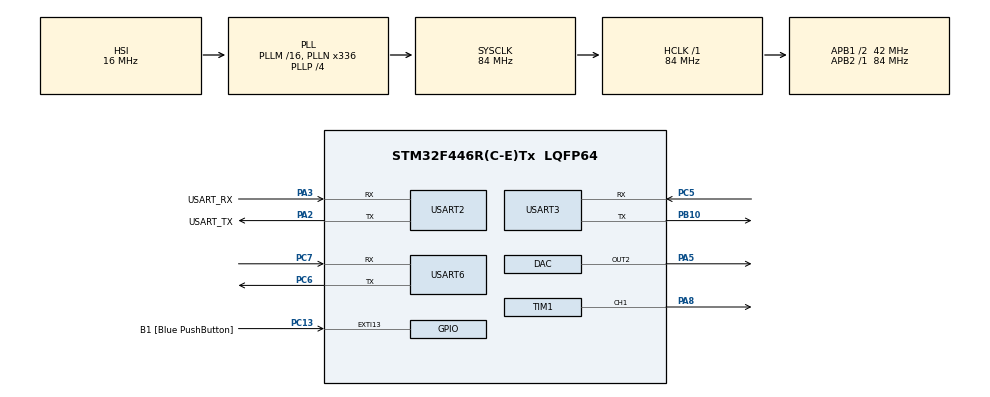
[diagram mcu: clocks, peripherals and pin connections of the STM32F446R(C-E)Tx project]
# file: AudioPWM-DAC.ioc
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DAC.DAC_Trigger2=DAC_TRIGGER_T6_TRGO
Dma.DAC2.1.Direction=DMA_MEMORY_TO_PERIPH
Dma.DAC2.1.FIFOMode=DMA_FIFOMODE_DISABLE
Dma.DAC2.1.Instance=DMA1_Stream6
Dma.DAC2.1.MemDataAlignment=DMA_MDATAALIGN_HALFWORD
Dma.DAC2.1.MemInc=DMA_MINC_ENABLE
Dma.DAC2.1.Mode=DMA_CIRCULAR
Dma.DAC2.1.PeriphDataAlignment=DMA_PDATAALIGN_HALFWORD
Dma.DAC2.1.PeriphInc=DMA_PINC_DISABLE
Dma.DAC2.1.Priority=DMA_PRIORITY_LOW
Dma.Request0=USART2_RX
Dma.Request1=DAC2
Dma.Request2=USART3_RX
Dma.Request3=USART6_RX
Dma.USART2_RX.0.Direction=DMA_PERIPH_TO_MEMORY
Dma.USART2_RX.0.FIFOMode=DMA_FIFOMODE_DISABLE
Dma.USART2_RX.0.Instance=DMA1_Stream5
Dma.USART2_RX.0.MemDataAlignment=DMA_MDATAALIGN_BYTE
Dma.USART2_RX.0.MemInc=DMA_MINC_ENABLE
Dma.USART2_RX.0.Mode=DMA_NORMAL
Dma.USART2_RX.0.PeriphDataAlignment=DMA_PDATAALIGN_BYTE
Dma.USART2_RX.0.PeriphInc=DMA_PINC_DISABLE
Dma.USART2_RX.0.Priority=DMA_PRIORITY_LOW
Dma.USART3_RX.2.Direction=DMA_PERIPH_TO_MEMORY
Dma.USART3_RX.2.FIFOMode=DMA_FIFOMODE_DISABLE
Dma.USART3_RX.2.Instance=DMA1_Stream1
Dma.USART3_RX.2.MemDataAlignment=DMA_MDATAALIGN_BYTE
Dma.USART3_RX.2.MemInc=DMA_MINC_ENABLE
Dma.USART3_RX.2.Mode=DMA_CIRCULAR
Dma.USART3_RX.2.PeriphDataAlignment=DMA_PDATAALIGN_BYTE
Dma.USART3_RX.2.PeriphInc=DMA_PINC_DISABLE
Dma.USART3_RX.2.Priority=DMA_PRIORITY_LOW
Dma.USART6_RX.3.Direction=DMA_PERIPH_TO_MEMORY
Dma.USART6_RX.3.FIFOMode=DMA_FIFOMODE_DISABLE
Dma.USART6_RX.3.Instance=DMA2_Stream1
Dma.USART6_RX.3.MemDataAlignment=DMA_MDATAALIGN_BYTE
Dma.USART6_RX.3.MemInc=DMA_MINC_ENABLE
Dma.USART6_RX.3.Mode=DMA_NORMAL
Dma.USART6_RX.3.PeriphDataAlignment=DMA_PDATAALIGN_BYTE
Dma.USART6_RX.3.PeriphInc=DMA_PINC_DISABLE
Dma.USART6_RX.3.Priority=DMA_PRIORITY_LOW
Mcu.Family=STM32F4
Mcu.Name=STM32F446R(C-E)Tx
Mcu.Package=LQFP64
NVIC.DMA1_Stream1_IRQn=true\:0\:0\:false\:false\:true\:false\:true\:true
NVIC.DMA1_Stream5_IRQn=true\:0\:0\:false\:false\:true\:false\:true\:true
NVIC.DMA1_Stream6_IRQn=true\:0\:0\:false\:false\:true\:false\:true\:true
NVIC.DMA2_Stream1_IRQn=true\:0\:0\:false\:false\:true\:false\:true\:true
NVIC.PriorityGroup=NVIC_PRIORITYGROUP_0
NVIC.USART2_IRQn=true\:0\:0\:false\:false\:true\:true\:true\:true
PA13.GPIO_Label=TMS
PA13.Mode=Serial_Wire
PA13.Signal=SYS_JTMS-SWDIO
PA14.GPIO_Label=TCK
PA14.Mode=Serial_Wire
PA14.Signal=SYS_JTCK-SWCLK
PA2.GPIO_Label=USART_TX
PA2.Mode=Asynchronous
PA2.Signal=USART2_TX
PA3.GPIO_Label=USART_RX
PA3.Mode=Asynchronous
PA3.Signal=USART2_RX
PA5.Signal=COMP_DAC2_group
PA8.Signal=S_TIM1_CH1
PB10.Mode=Asynchronous
PB10.Signal=USART3_TX
PB3.GPIO_Label=SWO
PB3.Signal=SYS_JTDO-SWO
PC13.GPIO_Label=B1 [Blue PushButton]
PC13.GPIO_ModeDefaultEXTI=GPIO_MODE_IT_FALLING
PC13.Signal=GPXTI13
PC14-OSC32_IN.Mode=LSE-External-Oscillator
PC14-OSC32_IN.Signal=RCC_OSC32_IN
PC15-OSC32_OUT.Mode=LSE-External-Oscillator
PC15-OSC32_OUT.Signal=RCC_OSC32_OUT
PC5.Mode=Asynchronous
PC5.Signal=USART3_RX
PC6.Mode=Asynchronous
PC6.Signal=USART6_TX
PC7.Mode=Asynchronous
PC7.Signal=USART6_RX
PH0-OSC_IN.Mode=HSE-External-Oscillator
PH0-OSC_IN.Signal=RCC_OSC_IN
PH1-OSC_OUT.Mode=HSE-External-Oscillator
PH1-OSC_OUT.Signal=RCC_OSC_OUT
ProjectManager.HeapSize=0x200
ProjectManager.StackSize=0x400
ProjectManager.TargetToolchain=STM32CubeIDE
RCC.48MHZClocksFreq_Value=84000000
RCC.AHBFreq_Value=84000000
RCC.APB1CLKDivider=RCC_HCLK_DIV2
RCC.APB1Freq_Value=42000000
RCC.APB1TimFreq_Value=84000000
RCC.APB2Freq_Value=84000000
RCC.APB2TimFreq_Value=84000000
RCC.CortexFreq_Value=84000000
RCC.FLatency-AdvancedSettings=FLASH_LATENCY_2
RCC.HCLKFreq_Value=84000000
RCC.HSE_VALUE=8000000
RCC.HSI_VALUE=16000000
RCC.PLLN=336
RCC.PLLP=RCC_PLLP_DIV4
RCC.SYSCLKFreq_VALUE=84000000
RCC.SYSCLKSource=RCC_SYSCLKSOURCE_PLLCLK
RCC.USBFreq_Value=168000000
RCC.VCOOutputFreq_Value=336000000
SH.COMP_DAC2_group.0=DAC_OUT2,DAC_OUT2
SH.S_TIM1_CH1.0=TIM1_CH1,PWM Generation1 CH1
TIM1.Channel-PWM\ Generation1\ CH1=TIM_CHANNEL_1
TIM1.Period=100-1
TIM1.Pulse-PWM\ Generation1\ CH1=50
TIM6.Prescaler=1-1
TIM6.TIM_MasterOutputTrigger=TIM_TRGO_UPDATE
USART2.OverSampling=UART_OVERSAMPLING_8
USART2.VirtualMode=VM_ASYNC
USART3.OverSampling=UART_OVERSAMPLING_8
USART3.VirtualMode=VM_ASYNC
USART6.OverSampling=UART_OVERSAMPLING_8
USART6.VirtualMode=VM_ASYNC
VP_TIM1_VS_ClockSourceINT.Mode=Internal
VP_TIM6_VS_ClockSourceINT.Mode=Enable_Timer
board=NUCLEO-F446RE

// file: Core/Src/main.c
/* USER CODE BEGIN Header */
/**
  ******************************************************************************
  * @file           : main.c
  * @brief          : Main program body
  ******************************************************************************
  * @attention
  *
  * Copyright (c) 2026 STMicroelectronics.
  * All rights reserved.
  *
  * This software is licensed under terms that can be found in the LICENSE file
  * in the root directory of this software component.
  * If no LICENSE file comes with this software, it is provided AS-IS.
  *
  ******************************************************************************
  */
/* USER CODE END Header */
#include "main.h"

/* USER CODE BEGIN Includes */
#include "NOTES_PSC.h"
#include <string.h>
#include "math.h"

/* USER CODE END Includes */

/* USER CODE BEGIN PD */
#define TOTAL_NOTES (sizeof(mk_notes)/sizeof(uint16_t))
/* USER CODE END PD */

DAC_HandleTypeDef hdac;
DMA_HandleTypeDef hdma_dac2;

TIM_HandleTypeDef htim1;
TIM_HandleTypeDef htim6;

UART_HandleTypeDef huart2;
UART_HandleTypeDef huart3;
UART_HandleTypeDef huart6;
DMA_HandleTypeDef hdma_usart2_rx;
DMA_HandleTypeDef hdma_usart3_rx;
DMA_HandleTypeDef hdma_usart6_rx;

/* USER CODE BEGIN PV */

// Cancion para DAC
int silent_notes[] = {0};
int silent_durations[] = {1000};  // 1 segundo de silencio
int win_notes[] = {
    523, 659, 784, 1047,   // subida alegre
    988, 1047, 1175,       // remate
    1319, 0,               // nota alta + pausa
    1047, 1175, 1319,      // cierre triunfal
    1568
};

int win_durations[] = {
    150, 150, 150, 300,
    150, 150, 300,
    400, 150,
    150, 150, 300,
    600
};
int mario_dac_notes[] = {
    659, 659, 0, 659,
    0, 523, 659, 784,
    0, 392, 0,

    523, 392, 0, 330,
    440, 494, 466, 440,
    392, 659, 784, 880,
    698, 784, 0, 659,
    523, 587, 494
};

int mario_dac_durations[] = {
    150, 150, 150, 150,
    150, 150, 150, 300,
    300, 300, 300,

    150, 150, 150, 150,
    150, 150, 150, 150,
    200, 200, 200, 200,
    150, 150, 150, 150,
    150, 150, 300
};

int mk64_intro_notes[] = {
    659, 784, 988, 880, 784, 659,
    587, 659, 784, 659, 587, 523,
    659, 784, 988, 880, 784, 659,
    784, 880, 988, 0
};

int mk64_intro_durations[] = {
    180, 180, 360, 180, 180, 360,
    180, 180, 360, 180, 180, 360,
    180, 180, 360, 180, 180, 360,
    180, 180, 500, 200
};

// Cancion para DAC
int mk_notes[] = {
    DAC_FS4, DAC_A4, DAC_B4,
    DAC_D5,  DAC_CS5, DAC_B4,
    DAC_A4,  DAC_FS4,

    DAC_D4,  DAC_FS4, DAC_A4,
    DAC_B4,  DAC_A4,  DAC_FS4,
    DAC_E4,  DAC_D4,

    DAC_FS4, DAC_A4,  DAC_B4,
    DAC_D5,  DAC_CS5, DAC_B4,
    DAC_A4,  DAC_FS4,

    DAC_E4,  DAC_FS4, DAC_G4,
    DAC_A4,  DAC_B4,  DAC_A4,
    DAC_FS4,

    DAC_A4,  DAC_B4,  DAC_C5,
    DAC_B4,  DAC_A4,  DAC_G4,
    DAC_FS4, DAC_E4,

    DAC_D4,  DAC_E4,  DAC_FS4,
    DAC_A4,  DAC_G4,  DAC_FS4,
    DAC_E4,  DAC_D4
};

// Las duraciones no cambian
int mk_durations[] = {
    200, 200, 300,
    200, 200, 300,
    200, 400,

    200, 200, 300,
    200, 200, 300,
    200, 400,

    200, 200, 300,
    200, 200, 300,
    200, 400,

    200, 200, 200,
    200, 300, 200,
    400,

    200, 200, 300,
    200, 200, 200,
    300, 400,

    200, 200, 200,
    300, 200, 200,
    300, 400
};

// ================================================================================

uint8_t rxbuffer;
uint8_t rx3buffer;
uint8_t flag;
uint8_t option_selected = 0;

// DAC
#define size 128
uint16_t Ysine[size];

#define PI 3.14159265
#define TIM_FREQ 84000000
#define TIM_PSC 1

char dummy[60];

/* USER CODE END PV */

void SystemClock_Config(void);
static void MX_GPIO_Init(void);
static void MX_DMA_Init(void);
static void MX_TIM1_Init(void);
static void MX_USART2_UART_Init(void);
static void MX_DAC_Init(void);
static void MX_TIM6_Init(void);
static void MX_USART3_UART_Init(void);
static void MX_USART6_UART_Init(void);

/* USER CODE BEGIN 0 */

void play_note(uint16_t psc)
{
    if (psc == 0)
    {
        __HAL_TIM_SET_COMPARE(&htim1, TIM_CHANNEL_1, 0);
        return;
    }

    __HAL_TIM_SET_PRESCALER(&htim1, psc);
    htim1.Instance->EGR = TIM_EGR_UG;  // CLAVE

    __HAL_TIM_SET_COMPARE(&htim1, TIM_CHANNEL_1, 50);
}

void play_melody(uint16_t *notes, uint16_t *durations, uint16_t length)
{
    for (uint16_t i = 0; i < length; i++)
    {
        play_note(notes[i]);
        HAL_Delay(durations[i]);

        // pequeña pausa entre notas (mejora el sonido)
        play_note(DAC_REST);
        HAL_Delay(20);
    }
}

// DMA
void generarSin(void){
	for (int x = 0; x < size; x++){
		Ysine[x] = ((sin(x * 2 * PI / size) + 1) * (4096 / 2));
	}
}

int calcularARR(int freq){
	if (freq == 0){
		return 0;
	}

	int TF = size * freq;
	return ((TIM_FREQ / ((TIM_PSC+1)*TF))-1);

}

void noTone(void)
{
    TIM6->ARR = 0xFFFF;  // frecuencia muy baja (silencio práctico)
}

void playTone(int *tone, int *duration, int *pause, int Nsize)
{
	HAL_DAC_Start_DMA(&hdac, DAC_CHANNEL_2, (uint32_t*)Ysine, size, DAC_ALIGN_12B_R);
    for (int i = 0; i < Nsize; i++)
    {
        int valorARR = calcularARR(tone[i]);   // frecuencia → ARR
        int dur = duration[i];                 // duración de la nota
        int pauseBetweenTones = 0;

        if (pause != NULL)
        {
            pauseBetweenTones = pause[i] - duration[i];
            if (pauseBetweenTones < 0) pauseBetweenTones = 0;
        }

        // Configurar frecuencia (Timer que dispara el DAC)
        TIM6->ARR = valorARR;
        TIM6->CNT = 0;

        HAL_Delay(dur);   // duración de la nota

        // Apagar tono (silencio)
        noTone();

        HAL_Delay(pauseBetweenTones); // pausa entre notas
    }

    HAL_DAC_Stop_DMA(&hdac, DAC_CHANNEL_2);
}

/* USER CODE END 0 */

int main(void)
{

  /* MCU Configuration--------------------------------------------------------*/

  /* Reset of all peripherals, Initializes the Flash interface and the Systick. */
  HAL_Init();

  /* Configure the system clock */
  SystemClock_Config();

  /* Initialize all configured peripherals */
  MX_GPIO_Init();
  MX_DMA_Init();
  MX_TIM1_Init();
  MX_USART2_UART_Init();
  MX_DAC_Init();
  MX_TIM6_Init();
  MX_USART3_UART_Init();
  MX_USART6_UART_Init();
  /* USER CODE BEGIN 2 */

  HAL_TIM_PWM_Start(&htim1, TIM_CHANNEL_1);
  HAL_UART_Receive_DMA(&huart2, &rxbuffer, 1);
  HAL_UART_Receive_DMA(&huart6, &rx3buffer, 1);
  generarSin();

  // Inicializar DAC
  HAL_DAC_Init(&hdac);
  HAL_TIM_Base_Start(&htim6);

  // Inicializar DAC elgiendo el canal
  HAL_DAC_Start_DMA(&hdac, DAC_CHANNEL_2, (uint32_t*)Ysine, size, DAC_ALIGN_12B_R);

  /* USER CODE END 2 */

  /* Infinite loop */
  /* USER CODE BEGIN WHILE */
  while (1)
  {
	  playTone(silent_notes, silent_durations, NULL, (sizeof(silent_notes)/sizeof(silent_notes[0])));
	  // verifico que me envia la nucleo del juego para saber cual musica tengo que poner.
	  // contamos con musica para menu, juego y ganador.
	  switch(rx3buffer)
	  		  {
	  			  case '1':
	  				  //Menu
	  				  playTone(mk64_intro_notes, mk64_intro_durations, NULL, (sizeof(mk64_intro_notes)/sizeof(mk64_intro_notes[0])));

	  				  break;

	  			  case '2':
	  				  //Carrera
	  				  playTone(mk_notes, mk_durations, NULL, (sizeof(mk_notes)/sizeof(mk_notes[0])));

	  				  break;

	  			  case '3':
	  				  //ganador!
	  				  playTone(win_notes, win_durations, NULL, (sizeof(win_notes)/sizeof(win_notes[0])));
	  				  break;
	  			  default:
	  				  //strcpy(dummy, "Opcion invalida\r\n");
	  				  //HAL_UART_Transmit(&huart2, dummy, strlen(dummy), 100);
	  				  noTone();
	  				  break;
	  		  	  }

    /* USER CODE END WHILE */

  }
}

void SystemClock_Config(void)
{
  RCC_OscInitTypeDef RCC_OscInitStruct = {0};
  RCC_ClkInitTypeDef RCC_ClkInitStruct = {0};

  /** Configure the main internal regulator output voltage
  */
  __HAL_RCC_PWR_CLK_ENABLE();
  __HAL_PWR_VOLTAGESCALING_CONFIG(PWR_REGULATOR_VOLTAGE_SCALE3);

  /** Initializes the RCC Oscillators according to the specified parameters
  * in the RCC_OscInitTypeDef structure.
  */
  RCC_OscInitStruct.OscillatorType = RCC_OSCILLATORTYPE_HSI;
  RCC_OscInitStruct.HSIState = RCC_HSI_ON;
  RCC_OscInitStruct.HSICalibrationValue = RCC_HSICALIBRATION_DEFAULT;
  RCC_OscInitStruct.PLL.PLLState = RCC_PLL_ON;
  RCC_OscInitStruct.PLL.PLLSource = RCC_PLLSOURCE_HSI;
  RCC_OscInitStruct.PLL.PLLM = 16;
  RCC_OscInitStruct.PLL.PLLN = 336;
  RCC_OscInitStruct.PLL.PLLP = RCC_PLLP_DIV4;
  RCC_OscInitStruct.PLL.PLLQ = 2;
  RCC_OscInitStruct.PLL.PLLR = 2;
  if (HAL_RCC_OscConfig(&RCC_OscInitStruct) != HAL_OK)
  {
    Error_Handler();
  }

  /** Initializes the CPU, AHB and APB buses clocks
  */
  RCC_ClkInitStruct.ClockType = RCC_CLOCKTYPE_HCLK|RCC_CLOCKTYPE_SYSCLK
                              |RCC_CLOCKTYPE_PCLK1|RCC_CLOCKTYPE_PCLK2;
  RCC_ClkInitStruct.SYSCLKSource = RCC_SYSCLKSOURCE_PLLCLK;
  RCC_ClkInitStruct.AHBCLKDivider = RCC_SYSCLK_DIV1;
  RCC_ClkInitStruct.APB1CLKDivider = RCC_HCLK_DIV2;
  RCC_ClkInitStruct.APB2CLKDivider = RCC_HCLK_DIV1;

  if (HAL_RCC_ClockConfig(&RCC_ClkInitStruct, FLASH_LATENCY_2) != HAL_OK)
  {
    Error_Handler();
  }
}

static void MX_DAC_Init(void)
{

  DAC_ChannelConfTypeDef sConfig = {0};

  /** DAC Initialization
  */
  hdac.Instance = DAC;
  if (HAL_DAC_Init(&hdac) != HAL_OK)
  {
    Error_Handler();
  }

  /** DAC channel OUT2 config
  */
  sConfig.DAC_Trigger = DAC_TRIGGER_T6_TRGO;
  sConfig.DAC_OutputBuffer = DAC_OUTPUTBUFFER_ENABLE;
  if (HAL_DAC_ConfigChannel(&hdac, &sConfig, DAC_CHANNEL_2) != HAL_OK)
  {
    Error_Handler();
  }

}

static void MX_TIM1_Init(void)
{

  TIM_ClockConfigTypeDef sClockSourceConfig = {0};
  TIM_MasterConfigTypeDef sMasterConfig = {0};
  TIM_OC_InitTypeDef sConfigOC = {0};
  TIM_BreakDeadTimeConfigTypeDef sBreakDeadTimeConfig = {0};

  htim1.Instance = TIM1;
  htim1.Init.Prescaler = 0;
  htim1.Init.CounterMode = TIM_COUNTERMODE_UP;
  htim1.Init.Period = 100-1;
  htim1.Init.ClockDivision = TIM_CLOCKDIVISION_DIV1;
  htim1.Init.RepetitionCounter = 0;
  htim1.Init.AutoReloadPreload = TIM_AUTORELOAD_PRELOAD_DISABLE;
  if (HAL_TIM_Base_Init(&htim1) != HAL_OK)
  {
    Error_Handler();
  }
  sClockSourceConfig.ClockSource = TIM_CLOCKSOURCE_INTERNAL;
  if (HAL_TIM_ConfigClockSource(&htim1, &sClockSourceConfig) != HAL_OK)
  {
    Error_Handler();
  }
  if (HAL_TIM_PWM_Init(&htim1) != HAL_OK)
  {
    Error_Handler();
  }
  sMasterConfig.MasterOutputTrigger = TIM_TRGO_RESET;
  sMasterConfig.MasterSlaveMode = TIM_MASTERSLAVEMODE_DISABLE;
  if (HAL_TIMEx_MasterConfigSynchronization(&htim1, &sMasterConfig) != HAL_OK)
  {
    Error_Handler();
  }
  sConfigOC.OCMode = TIM_OCMODE_PWM1;
  sConfigOC.Pulse = 50;
  sConfigOC.OCPolarity = TIM_OCPOLARITY_HIGH;
  sConfigOC.OCNPolarity = TIM_OCNPOLARITY_HIGH;
  sConfigOC.OCFastMode = TIM_OCFAST_DISABLE;
  sConfigOC.OCIdleState = TIM_OCIDLESTATE_RESET;
  sConfigOC.OCNIdleState = TIM_OCNIDLESTATE_RESET;
  if (HAL_TIM_PWM_ConfigChannel(&htim1, &sConfigOC, TIM_CHANNEL_1) != HAL_OK)
  {
    Error_Handler();
  }
  sBreakDeadTimeConfig.OffStateRunMode = TIM_OSSR_DISABLE;
  sBreakDeadTimeConfig.OffStateIDLEMode = TIM_OSSI_DISABLE;
  sBreakDeadTimeConfig.LockLevel = TIM_LOCKLEVEL_OFF;
  sBreakDeadTimeConfig.DeadTime = 0;
  sBreakDeadTimeConfig.BreakState = TIM_BREAK_DISABLE;
  sBreakDeadTimeConfig.BreakPolarity = TIM_BREAKPOLARITY_HIGH;
  sBreakDeadTimeConfig.AutomaticOutput = TIM_AUTOMATICOUTPUT_DISABLE;
  if (HAL_TIMEx_ConfigBreakDeadTime(&htim1, &sBreakDeadTimeConfig) != HAL_OK)
  {
    Error_Handler();
  }
  HAL_TIM_MspPostInit(&htim1);

}

static void MX_TIM6_Init(void)
{

  TIM_MasterConfigTypeDef sMasterConfig = {0};

  htim6.Instance = TIM6;
  htim6.Init.Prescaler = 1-1;
  htim6.Init.CounterMode = TIM_COUNTERMODE_UP;
  htim6.Init.Period = 65535;
  htim6.Init.AutoReloadPreload = TIM_AUTORELOAD_PRELOAD_DISABLE;
  if (HAL_TIM_Base_Init(&htim6) != HAL_OK)
  {
    Error_Handler();
  }
  sMasterConfig.MasterOutputTrigger = TIM_TRGO_UPDATE;
  sMasterConfig.MasterSlaveMode = TIM_MASTERSLAVEMODE_DISABLE;
  if (HAL_TIMEx_MasterConfigSynchronization(&htim6, &sMasterConfig) != HAL_OK)
  {
    Error_Handler();
  }

}

static void MX_USART2_UART_Init(void)
{

  huart2.Instance = USART2;
  huart2.Init.BaudRate = 115200;
  huart2.Init.WordLength = UART_WORDLENGTH_8B;
  huart2.Init.StopBits = UART_STOPBITS_1;
  huart2.Init.Parity = UART_PARITY_NONE;
  huart2.Init.Mode = UART_MODE_TX_RX;
  huart2.Init.HwFlowCtl = UART_HWCONTROL_NONE;
  huart2.Init.OverSampling = UART_OVERSAMPLING_8;
  if (HAL_UART_Init(&huart2) != HAL_OK)
  {
    Error_Handler();
  }

}

static void MX_USART3_UART_Init(void)
{

  huart3.Instance = USART3;
  huart3.Init.BaudRate = 115200;
  huart3.Init.WordLength = UART_WORDLENGTH_8B;
  huart3.Init.StopBits = UART_STOPBITS_1;
  huart3.Init.Parity = UART_PARITY_NONE;
  huart3.Init.Mode = UART_MODE_TX_RX;
  huart3.Init.HwFlowCtl = UART_HWCONTROL_NONE;
  huart3.Init.OverSampling = UART_OVERSAMPLING_8;
  if (HAL_UART_Init(&huart3) != HAL_OK)
  {
    Error_Handler();
  }

}

static void MX_USART6_UART_Init(void)
{

  huart6.Instance = USART6;
  huart6.Init.BaudRate = 115200;
  huart6.Init.WordLength = UART_WORDLENGTH_8B;
  huart6.Init.StopBits = UART_STOPBITS_1;
  huart6.Init.Parity = UART_PARITY_NONE;
  huart6.Init.Mode = UART_MODE_TX_RX;
  huart6.Init.HwFlowCtl = UART_HWCONTROL_NONE;
  huart6.Init.OverSampling = UART_OVERSAMPLING_8;
  if (HAL_UART_Init(&huart6) != HAL_OK)
  {
    Error_Handler();
  }

}

static void MX_DMA_Init(void)
{

  /* DMA controller clock enable */
  __HAL_RCC_DMA1_CLK_ENABLE();
  __HAL_RCC_DMA2_CLK_ENABLE();

  /* DMA interrupt init */
  /* DMA1_Stream1_IRQn interrupt configuration */
  HAL_NVIC_SetPriority(DMA1_Stream1_IRQn, 0, 0);
  HAL_NVIC_EnableIRQ(DMA1_Stream1_IRQn);
  /* DMA1_Stream5_IRQn interrupt configuration */
  HAL_NVIC_SetPriority(DMA1_Stream5_IRQn, 0, 0);
  HAL_NVIC_EnableIRQ(DMA1_Stream5_IRQn);
  /* DMA1_Stream6_IRQn interrupt configuration */
  HAL_NVIC_SetPriority(DMA1_Stream6_IRQn, 0, 0);
  HAL_NVIC_EnableIRQ(DMA1_Stream6_IRQn);
  /* DMA2_Stream1_IRQn interrupt configuration */
  HAL_NVIC_SetPriority(DMA2_Stream1_IRQn, 0, 0);
  HAL_NVIC_EnableIRQ(DMA2_Stream1_IRQn);

}

static void MX_GPIO_Init(void)
{
  GPIO_InitTypeDef GPIO_InitStruct = {0};

  /* GPIO Ports Clock Enable */
  __HAL_RCC_GPIOC_CLK_ENABLE();
  __HAL_RCC_GPIOH_CLK_ENABLE();
  __HAL_RCC_GPIOA_CLK_ENABLE();
  __HAL_RCC_GPIOB_CLK_ENABLE();

  /*Configure GPIO pin : B1_Pin */
  GPIO_InitStruct.Pin = B1_Pin;
  GPIO_InitStruct.Mode = GPIO_MODE_IT_FALLING;
  GPIO_InitStruct.Pull = GPIO_NOPULL;
  HAL_GPIO_Init(B1_GPIO_Port, &GPIO_InitStruct);

}

/* USER CODE BEGIN 4 */

// Interrupcion de RX con DMA
void HAL_UART_RxCpltCallback(UART_HandleTypeDef *huart)
{
    if (huart == &huart6)
    {
        flag = 1;
        HAL_UART_Receive_DMA(&huart6, &rx3buffer, 1);
    }
}

/* USER CODE END 4 */

void Error_Handler(void)
{
  __disable_irq();
  while (1)
  {
  }
}
